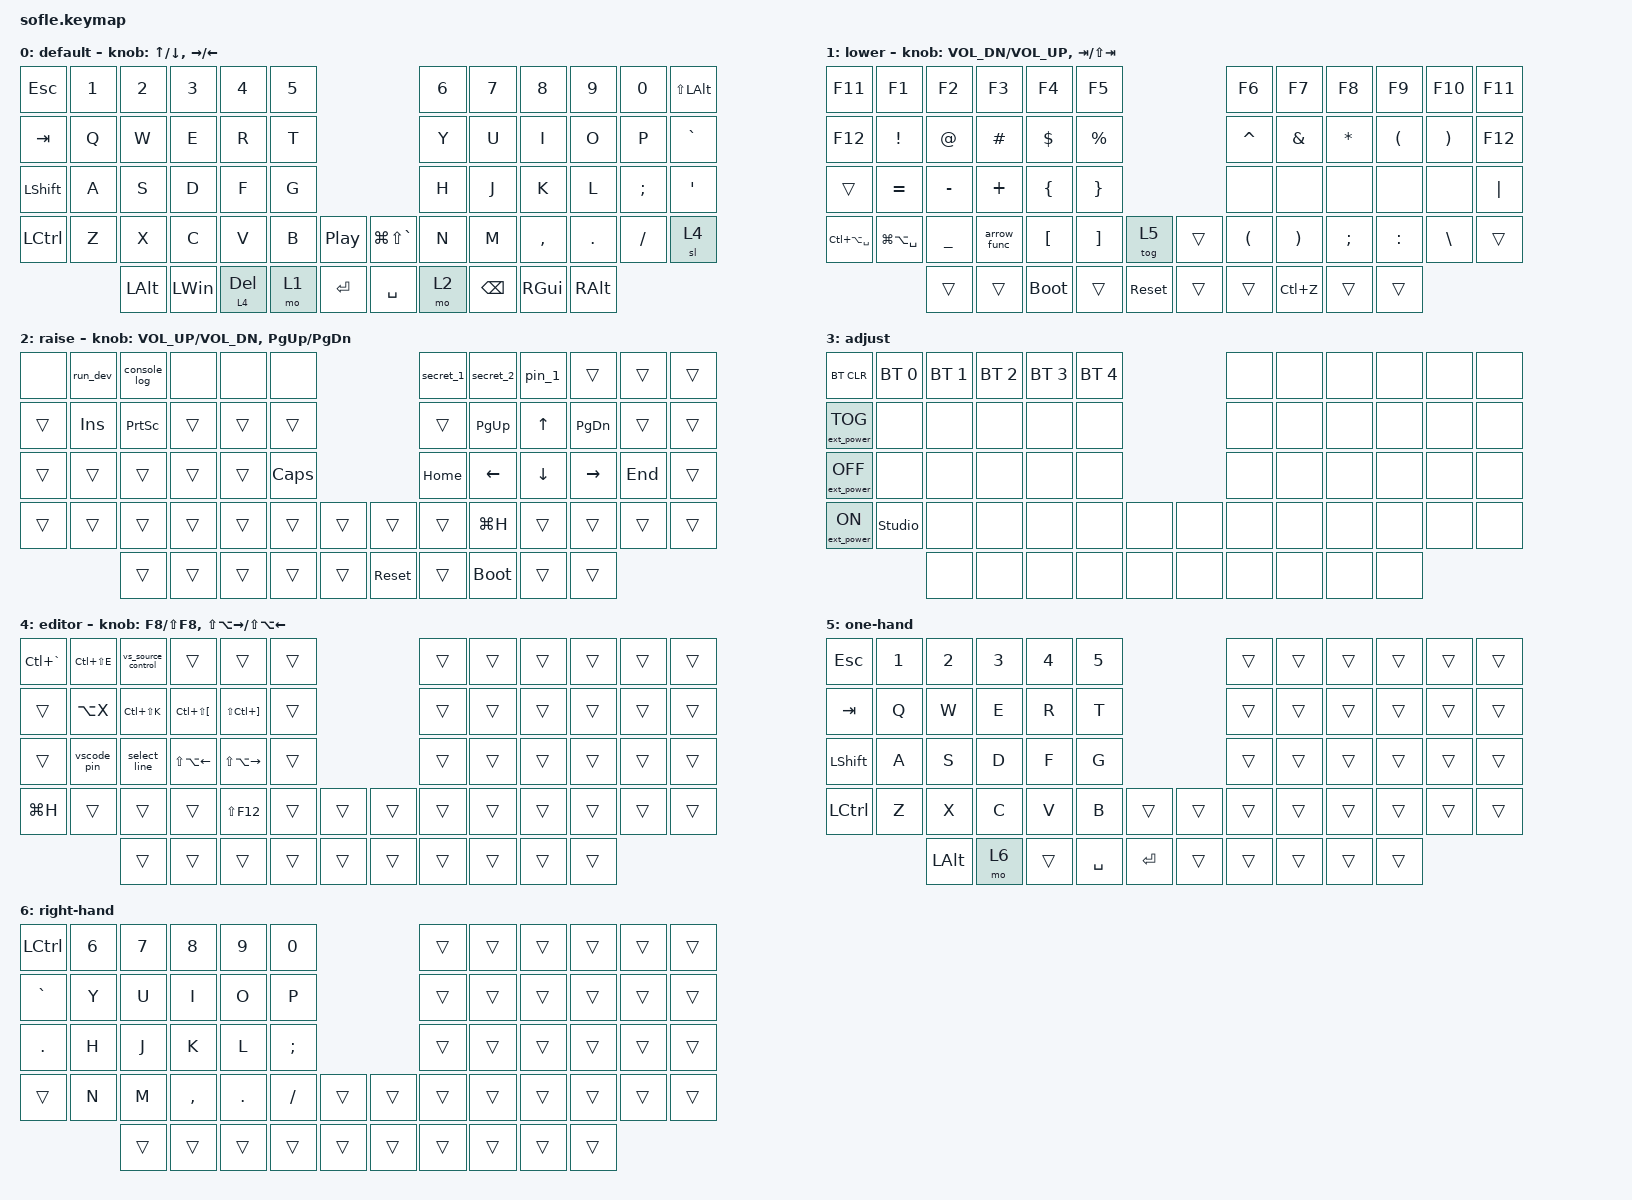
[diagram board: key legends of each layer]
/*
 * Copyright (c) 2020 The ZMK Contributors
 *
 * SPDX-License-Identifier: MIT
 */

#include <behaviors.dtsi>
#include <dt-bindings/zmk/bt.h>
#include <dt-bindings/zmk/ext_power.h>
#include <dt-bindings/zmk/keys.h>

#define BASE 0
#define LOWER 1
#define RAISE 2
#define ADJUST 3

/ {
    // Activate ADJUST layer by pressing raise and lower

    conditional_layers {
        compatible = "zmk,conditional-layers";

        adjust_layer {
            if-layers = <1 2>;
            then-layer = <3>;
        };
    };

    combos {
        compatible = "zmk,combos";

        copy {
            bindings = <&kp LC(C)>;
            key-positions = <27 28>;
            require-prior-idle-ms = <200>;
            timeout-ms = <30>;
        };

        home {
            bindings = <&kp HOME>;
            key-positions = <31 32>;
            require-prior-idle-ms = <200>;
            timeout-ms = <30>;
        };

        KL-end {
            bindings = <&kp END>;
            key-positions = <32 33>;
            require-prior-idle-ms = <200>;
            timeout-ms = <30>;
        };

        ER-autocomplete {
            bindings = <&kp LC(SPACE)>;
            key-positions = <15 16>;
            require-prior-idle-ms = <200>;
            timeout-ms = <30>;
        };

        paste {
            bindings = <&kp LC(V)>;
            key-positions = <28 29>;
            require-prior-idle-ms = <200>;
            timeout-ms = <30>;
        };

        pageup {
            bindings = <&kp PAGE_UP>;
            key-positions = <19 20>;
            require-prior-idle-ms = <200>;
            timeout-ms = <30>;
        };

        pagedown {
            bindings = <&kp PAGE_DOWN>;
            key-positions = <20 21>;
            require-prior-idle-ms = <200>;
            timeout-ms = <30>;
        };

        win_paste {
            bindings = <&kp LG(V)>;
            key-positions = <28 41>;
            require-prior-idle-ms = <200>;
            timeout-ms = <30>;
        };

        refresh {
            bindings = <&kp LC(R)>;
            key-positions = <3 4>;
            require-prior-idle-ms = <200>;
            timeout-ms = <30>;
        };

        ctrl_end {
            bindings = <&kp LC(END)>;
            key-positions = <46 47>;
            require-prior-idle-ms = <200>;
            timeout-ms = <30>;
        };

        ctrl_home {
            bindings = <&kp LC(HOME)>;
            key-positions = <45 46>;
            require-prior-idle-ms = <200>;
            timeout-ms = <30>;
        };

        vs-delete-line {
            bindings = <&kp LC(LS(K))>;
            key-positions = <39 40>;
        };

        vscode_unfold_all {
            bindings = <&vscode_unfold_all>;
            key-positions = <2 1>;
            timeout-ms = <30>;
            require-prior-idle-ms = <200>;
        };

        vscode_fold_all {
            bindings = <&vscode_fold_all>;
            key-positions = <4 5>;
            timeout-ms = <30>;
            require-prior-idle-ms = <200>;
        };

        vscode_unfold {
            bindings = <&kp LC(LS(RIGHT_BRACKET))>;
            key-positions = <2 3>;
            timeout-ms = <30>;
            require-prior-idle-ms = <200>;
        };

        vscode_fold {
            bindings = <&kp LC(LS(LEFT_BRACKET))>;
            key-positions = <3 4>;
            timeout-ms = <30>;
            require-prior-idle-ms = <200>;
        };
    };

    macros {
        run_dev: run_dev {
            compatible = "zmk,behavior-macro";
            #binding-cells = <0>;
            bindings = <&kp N &kp P &kp M &kp SPACE &kp R &kp U &kp N &kp SPACE &kp D &kp E &kp V>;
            label = "RUN_DEV";
        };

        secret_1: secret_1 {
            compatible = "zmk,behavior-macro";
            #binding-cells = <0>;
            bindings = <&kp W &kp N0 &kp P &kp UNDER &kp UNDER &kp N1 &kp N9 &kp N8 &kp N6>;
            label = "SECRET_1";
        };

        console_log: console_log {
            compatible = "zmk,behavior-macro";
            #binding-cells = <0>;
            bindings = <&kp C &kp O &kp N &kp S &kp O &kp L &kp E &kp DOT &kp L &kp O &kp G &kp LPAR &kp LEFT_BRACE &kp RBRC &kp RPAR &kp LEFT_ARROW &kp LEFT_ARROW>;
            label = "CONSOLE_LOG";
        };

        arrow_func: arrow_func {
            compatible = "zmk,behavior-macro";
            #binding-cells = <0>;
            bindings = <&kp EQUAL &kp GT>;
            label = "ARROW_FUNC";
        };

        vscode_pin: vscode_pin {
            compatible = "zmk,behavior-macro";
            #binding-cells = <0>;
            bindings = <&kp LC(K) &kp LS(ENTER)>;
            label = "VSCODE_PIN";
        };

        secret_2: secret_2 {
            compatible = "zmk,behavior-macro";
            #binding-cells = <0>;
            bindings = <&kp LS(W) &kp N0 &kp P &kp UNDER &kp UNDER &kp N1 &kp N9 &kp N8 &kp N6 &kp AT>;
            label = "SECRET_2";
        };

        select_line: select_line {
            compatible = "zmk,behavior-macro";
            #binding-cells = <0>;
            bindings =
                <&kp END>,
                <&macro_press>,
                <&kp LEFT_SHIFT>,
                <&macro_tap>,
                <&kp HOME>,
                <&macro_release>,
                <&kp LEFT_SHIFT>;

            label = "SELECT_LINE";
        };

        pin_1: pin_1 {
            compatible = "zmk,behavior-macro";
            #binding-cells = <0>;
            bindings = <&kp N5 &kp N0 &kp N0 &kp N8 &kp N6 &kp N1 &kp N5>;
            label = "PIN_1";
        };

        vs_source_control: vs_source_control {
            compatible = "zmk,behavior-macro";
            #binding-cells = <0>;
            bindings = <&kp LC(LS(G)) &kp G>;
            label = "VS_SOURCE_CONTROL";
        };

        vscode_fold_all: vscode_fold_all {
            compatible = "zmk,behavior-macro";
            #binding-cells = <0>;
            bindings = <&kp LC(K) &kp LC(NUMBER_0)>;
            label = "VSCODE_FOLD_ALL";
        };

        vscode_unfold_all: vscode_unfold_all {
            compatible = "zmk,behavior-macro";
            #binding-cells = <0>;
            bindings = <&kp LC(K) &kp LC(J)>;
            label = "VSCODE_UNFOLD_ALL";
        };
    };

    keymap {
        compatible = "zmk,keymap";

        default_layer {
            label = "default";

            // ------------------------------------------------------------------------------------------------------------
            // |   `   |  1  |  2  |  3   |  4   |  5   |                   |  6   |  7    |  8    |  9   |   0   |       |
            // |  ESC  |  Q  |  W  |  E   |  R   |  T   |                   |  Y   |  U    |  I    |  O   |   P   | BKSPC |
            // |  TAB  |  A  |  S  |  D   |  F   |  G   |                   |  H   |  J    |  K    |  L   |   ;   |   '   |
            // | SHIFT |  Z  |  X  |  C   |  V   |  B   |  MUTE  |  |       |  N   |  M    |  ,    |  .   |   /   | SHIFT |
            //               | GUI | ALT  | CTRL | LOWER|  ENTER |  | SPACE | RAISE| CTRL  | ALT   | GUI  |

            bindings = <
&kp ESC           &kp NUMBER_1  &kp NUMBER_2  &kp N3        &kp N4        &kp N5                                         &kp N6  &kp N7         &kp N8         &kp N9         &kp N0    &kp LS(LEFT_ALT)
&kp TAB           &kp Q         &kp W         &kp E         &kp R         &kp T                                          &kp Y   &kp U          &kp I          &kp O          &kp P     &kp GRAVE
&kp LEFT_SHIFT    &kp A         &kp S         &kp D         &kp F         &kp G                                          &kp H   &kp J          &kp K          &kp L          &kp SEMI  &kp SQT
&kp LEFT_CONTROL  &kp Z         &kp X         &kp C         &kp V         &kp B   &kp C_PLAY_PAUSE    &kp LG(LS(GRAVE))  &kp N   &kp M          &kp COMMA      &kp DOT        &kp FSLH  &sl 4
                                &kp LEFT_ALT  &kp LEFT_WIN  &lt 4 DELETE  &mo 1   &kp RET             &kp SPACE          &mo 2   &kp BACKSPACE  &kp RIGHT_GUI  &kp RIGHT_ALT
            >;

            sensor-bindings =
                <&inc_dec_kp UP_ARROW DOWN_ARROW>,
                <&inc_dec_kp RIGHT LEFT_ARROW>;
        };

        lower_layer {
            label = "lower";

            // TODO: Some binds are waiting for shifted keycode support.
            // ------------------------------------------------------------------------------------------------------------
            // |       |  F1 |  F2 |  F3  |  F4  |  F5  |                   |  F6  |  F7   |  F8   |  F9  |  F10  |  F11  |
            // |   `   |  1  |  2  |  3   |  4   |  5   |                   |  6   |  7    |  8    |  9   |   0   |  F12  |
            // |       |  !  |  @  |  #   |  $   |  %   |                   |  ^   |  &    |  *    |  (   |   )   |   |   |
            // |       |  =  |  -  |  +   |  {   |  }   |        |  |       |  [   |  ]    |  ;    |  :   |   \   |       |
            //               |     |      |      |      |        |  |       |      |       |       |      |

            bindings = <
&kp F11            &kp F1             &kp F2       &kp F3       &kp F4            &kp F5                                   &kp F6                &kp F7                 &kp F8         &kp F9                &kp F10                &kp F11
&kp F12            &kp EXCLAMATION    &kp AT_SIGN  &kp HASH     &kp DOLLAR        &kp PERCENT                              &kp CARET             &kp AMPERSAND          &kp ASTRK      &kp LEFT_PARENTHESIS  &kp RIGHT_PARENTHESIS  &kp F12
&trans             &kp EQUAL          &kp MINUS    &kp PLUS     &kp LEFT_BRACE    &kp RIGHT_BRACE                          &none                 &none                  &none          &none                 &none                  &kp PIPE
&kp LC(LA(SPACE))  &kp LG(LA(SPACE))  &kp UNDER    &arrow_func  &kp LEFT_BRACKET  &kp RIGHT_BRACKET  &tog 5        &trans  &kp LEFT_PARENTHESIS  &kp RIGHT_PARENTHESIS  &kp SEMICOLON  &kp COLON             &kp BSLH               &trans
                                      &trans       &trans       &bootloader       &trans             &sys_reset    &trans  &trans                &kp LC(Z)              &trans         &trans
            >;

            sensor-bindings =
                <&inc_dec_kp C_VOL_DN C_VOLUME_UP>,
                <&inc_dec_kp TAB LS(TAB)>;
        };

        raise_layer {
            label = "raise";

            // ------------------------------------------------------------------------------------------------------------
            // | BTCLR | BT1  | BT2  |  BT3  |  BT4  |  BT5 |                |      |      |       |      |       |       |
            // |       | INS  | PSCR | GUI   |       |      |                | PGUP |      |   ^   |      |       |       |
            // |       | ALT  | CTRL | SHIFT |       | CAPS |                | PGDN |   <- |   v   |  ->  |  DEL  | BKSPC |
            // |       | UNDO | CUT  | COPY  | PASTE |      |      |  |      |      |      |       |      |       |       |
            //                |      |       |       |      |      |  |      |      |      |       |      |

            bindings = <
&none   &run_dev  &console_log  &none   &none   &none                           &secret_1  &secret_2    &pin_1    &trans         &trans   &trans
&trans  &kp INS   &kp PSCRN     &trans  &trans  &trans                          &trans     &kp PAGE_UP  &kp UP    &kp PAGE_DOWN  &trans   &trans
&trans  &trans    &trans        &trans  &trans  &kp CLCK                        &kp HOME   &kp LEFT     &kp DOWN  &kp RIGHT      &kp END  &trans
&trans  &trans    &trans        &trans  &trans  &trans    &trans    &trans      &trans     &kp LG(H)    &trans    &trans         &trans   &trans
                  &trans        &trans  &trans  &trans    &trans    &sys_reset  &trans     &bootloader  &trans    &trans
            >;

            sensor-bindings = <&inc_dec_kp C_VOL_UP C_VOL_DN &inc_dec_kp PG_UP PG_DN>;
        };

        adjust_layer {
            // ----------------------------------------------------------------------------------------------------------------------------
            // | BTCLR  |  BT1    |  BT2    |   BT3   |   BT4   |   BT5   |                  |      |      |       |      |       |       |
            // | EXTPWR | RGB_HUD | RGB_HUI | RGB_SAD | RGB_SAI | RGB_EFF |                  |      |      |       |      |       |       |
            // |        | RGB_BRD | RGB_BRI |         |         |         |                  |      |      |       |      |       |       |
            // |        |         |         |         |         |         | RGB_TOG | |      |      |      |       |      |       |       |
            //                    |         |         |         |         |         | |      |      |      |       |      |

            label = "adjust";
            bindings = <
&bt BT_CLR         &bt BT_SEL 0    &bt BT_SEL 1  &bt BT_SEL 2  &bt BT_SEL 3  &bt BT_SEL 4                  &none  &none  &none  &none  &none  &none
&ext_power EP_TOG  &none           &none         &none         &none         &none                         &none  &none  &none  &none  &none  &none
&ext_power EP_OFF  &none           &none         &none         &none         &none                         &none  &none  &none  &none  &none  &none
&ext_power EP_ON   &studio_unlock  &none         &none         &none         &none         &none    &none  &none  &none  &none  &none  &none  &none
                                   &none         &none         &none         &none         &none    &none  &none  &none  &none  &none
            >;
        };

        editor {
            bindings = <
&kp LC(GRAVE)  &kp LC(LS(E))  &vs_source_control  &trans                    &trans                     &trans                    &trans  &trans  &trans  &trans  &trans  &trans
&trans         &kp LA(X)      &kp LC(LS(K))       &kp LC(LS(LEFT_BRACKET))  &kp LS(LC(RIGHT_BRACKET))  &trans                    &trans  &trans  &trans  &trans  &trans  &trans
&trans         &vscode_pin    &select_line        &kp LS(LA(LEFT_ARROW))    &kp LS(LA(RIGHT_ARROW))    &trans                    &trans  &trans  &trans  &trans  &trans  &trans
&kp LG(H)      &trans         &trans              &trans                    &kp LS(F12)                &trans  &trans    &trans  &trans  &trans  &trans  &trans  &trans  &trans
                              &trans              &trans                    &trans                     &trans  &trans    &trans  &trans  &trans  &trans  &trans
            >;

            sensor-bindings =
                <&inc_dec_kp F8 LS(F8)>,
                <&inc_dec_kp LS(LA(RIGHT_ARROW)) LS(LA(LEFT_ARROW))>;

            label = "editor";
        };

        Gaming {
            bindings = <
&kp ESC    &kp N1  &kp N2    &kp N3  &kp N4  &kp N5                        &trans  &trans  &trans  &trans  &trans  &trans
&kp TAB    &kp Q   &kp W     &kp E   &kp R   &kp T                         &trans  &trans  &trans  &trans  &trans  &trans
&kp LSHFT  &kp A   &kp S     &kp D   &kp F   &kp G                         &trans  &trans  &trans  &trans  &trans  &trans
&kp LCTRL  &kp Z   &kp X     &kp C   &kp V   &kp B      &trans     &trans  &trans  &trans  &trans  &trans  &trans  &trans
                   &kp LALT  &mo 6   &trans  &kp SPACE  &kp RET    &trans  &trans  &trans  &trans  &trans
            >;

            label = "one-hand";
        };

        Right-Hand {
            bindings = <
&kp LCTRL  &kp N6  &kp N7  &kp N8     &kp N9   &kp N0                      &trans  &trans  &trans  &trans  &trans  &trans
&kp GRAVE  &kp Y   &kp U   &kp I      &kp O    &kp P                       &trans  &trans  &trans  &trans  &trans  &trans
&kp DOT    &kp H   &kp J   &kp K      &kp L    &kp SEMI                    &trans  &trans  &trans  &trans  &trans  &trans
&trans     &kp N   &kp M   &kp COMMA  &kp DOT  &kp FSLH  &trans    &trans  &trans  &trans  &trans  &trans  &trans  &trans
                   &trans  &trans     &trans   &trans    &trans    &trans  &trans  &trans  &trans  &trans
            >;

            label = "right-hand";
        };
    };
};
